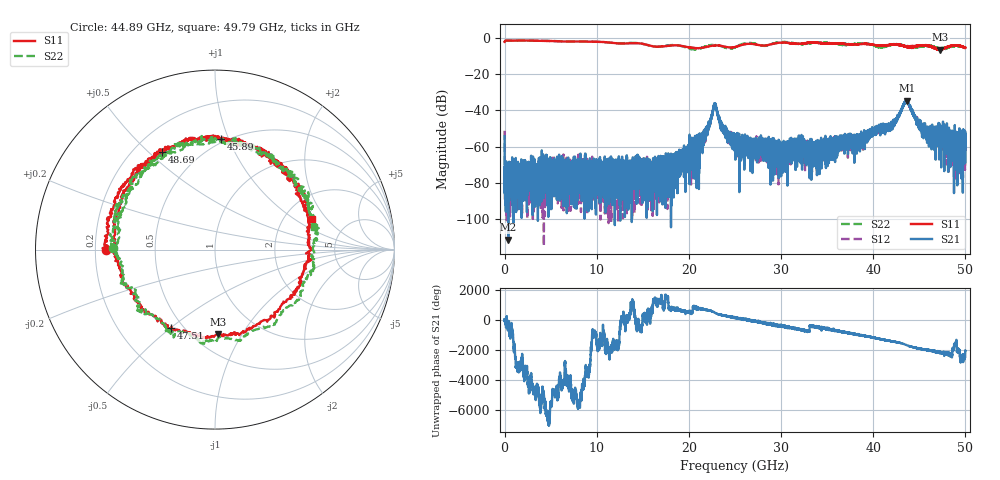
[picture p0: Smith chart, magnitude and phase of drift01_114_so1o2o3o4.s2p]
!Created with skrf (http://scikit-rf.org).
# Hz S RI R 50.0
!freq ReS11 ImS11 ReS21 ImS21 ReS12 ImS12 ReS22 ImS22
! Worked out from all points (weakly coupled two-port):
!   10001 points, 300 kHz to 50 GHz, reference 50 ohm
!   highest |S21| = -34.57 dB at 43.65 GHz (marker M1); lowest = -111.6 dB at 395.3 MHz (marker M2)
!   lowest |S11| = -6.5 dB at 47.28 GHz (marker M3), VSWR 2.79, Z = 32.8 - j39.8 ohm
!   |S11| at or under -10 dB: nowhere
!   |S22| runs from -6.4 to -1.4 dB; largest |S21 - S12| = 0.0038
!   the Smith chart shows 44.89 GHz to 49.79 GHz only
!   S11 on the Smith chart (normalised r, x): 44.89 GHz: 0.25, -0.00; 45.89 GHz: 0.47, +0.94; 47.51 GHz: 0.43, -0.50; 48.69 GHz: 0.31, +0.55; 49.79 GHz: 2.82, +1.39
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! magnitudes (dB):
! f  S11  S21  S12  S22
! 300 kHz  -2.1  -54.5  -51.3  -2.0
! 255.3 MHz  -1.4  -76.8  -75.0  -1.4
! 395.3 MHz  -1.4  -111.6  -82.3  -1.4
! 8.335 GHz  -1.9  -84.5  -75.0  -1.8
! 16.67 GHz  -4.8  -65.9  -75.5  -4.8
! 20.96 GHz  -5.6  -57.6  -56.3  -6.1
! 21.66 GHz  -5.2  -56.9  -53.2  -5.1
! 22.79 GHz  -4.3  -36.4  -36.2  -4.0
! 23.74 GHz  -4.6  -51.2  -50.6  -5.0
! 25 GHz  -5.0  -60.8  -58.0  -5.0
! 29.81 GHz  -2.6  -64.9  -64.0  -2.4
! 31.63 GHz  -3.2  -61.0  -63.9  -3.0
! 33.34 GHz  -2.6  -63.6  -61.9  -2.7
! 41.67 GHz  -3.9  -50.4  -48.7  -4.2
! 43.65 GHz  -4.9  -34.6  -35.2  -5.0
! 44.89 GHz  -4.4  -46.5  -46.0  -4.9
! 45.89 GHz  -4.2  -52.6  -51.1  -4.0
! 47.28 GHz  -6.5  -52.3  -52.8  -5.8
! 47.51 GHz  -6.0  -60.0  -51.8  -6.0
! 48.69 GHz  -4.1  -64.4  -59.2  -4.6
! 49.79 GHz  -5.0  -55.2  -56.5  -5.0
! 50 GHz  -5.4  -56.5  -62.6  -5.3
